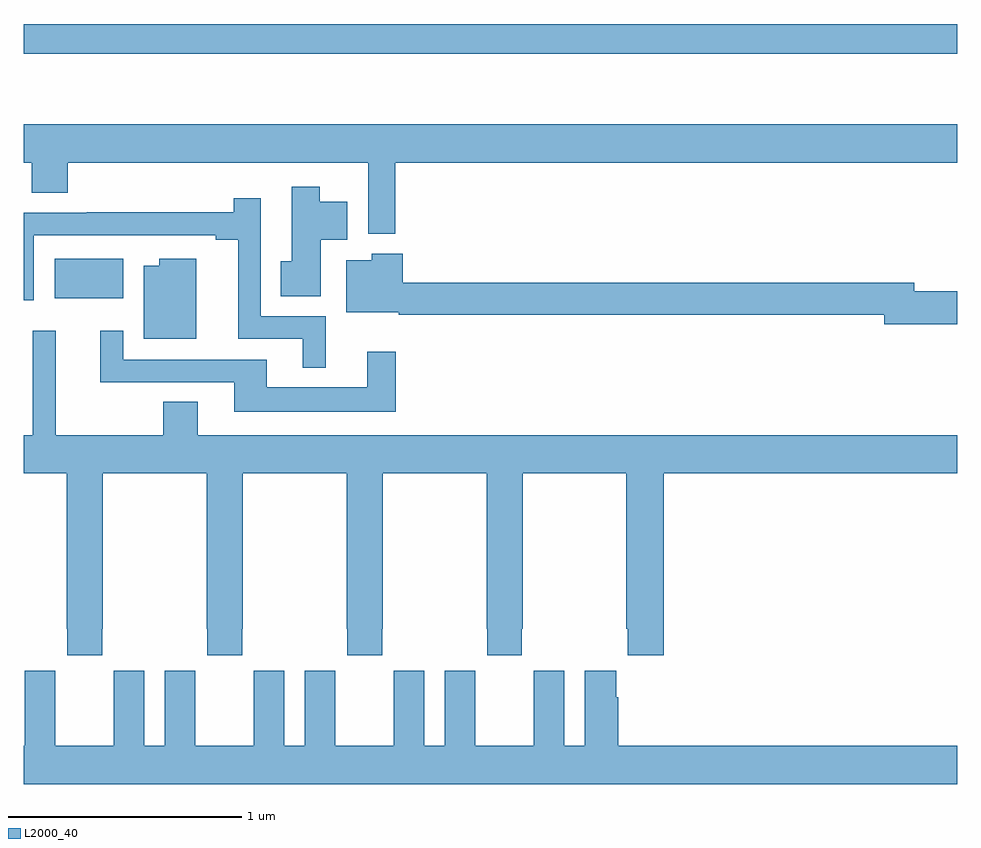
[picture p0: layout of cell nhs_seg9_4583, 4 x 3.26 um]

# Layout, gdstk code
import gdstk
lib = gdstk.Library(unit=1e-6, precision=1e-09)
def R(c, l, rs):  # rectangles x0, y0, x1, y1
    for r in rs: c.add(gdstk.rectangle(r[:2], r[2:], *l))
def P(c, l, *ps):  # polygons
    for p in ps: c.add(gdstk.Polygon(p, *l))
L2000_40 = (2000, 40)

nhs_seg9_4583 = lib.new_cell('nhs_seg9_4583')
R(nhs_seg9_4583, L2000_40, [(373.133,1245.122,373.426,1245.292), (373,1246.17,377,1246.298)])
P(nhs_seg9_4583, L2000_40, [(374.591,1245.704),(377,1245.704),(377,1245.868),(373,1245.868),(373,1245.704),(373.034,1245.704),(373.034,1245.574),(373.187,1245.574),(373.187,1245.704),(374.475,1245.704),(374.475,1245.398),(374.591,1245.398)],
  [(374.272,1245.374),(374.386,1245.374),(374.386,1245.535),(374.269,1245.535),(374.269,1245.601),(374.147,1245.601),(374.147,1245.282),(374.101,1245.282),(374.101,1245.13),(374.272,1245.13)],
  [(374.293,1245.045),(374.016,1245.045),(374.016,1245.55),(373.9,1245.55),(373.9,1245.491),(373.27,1245.491),(373.27,1245.489),(373,1245.489),(373,1245.114),(373.041,1245.114),(373.041,1245.393),(373.823,1245.393),(373.823,1245.373),(373.919,1245.373),(373.919,1244.949),(374.195,1244.949),(374.195,1244.825),(374.293,1244.825)],
  [(377,1245.152),(376.816,1245.152),(376.816,1245.188),(374.624,1245.188),(374.624,1245.313),(374.49,1245.313),(374.49,1245.286),(374.381,1245.286),(374.381,1245.062),(374.607,1245.062),(374.607,1245.052),(376.688,1245.052),(376.688,1245.01),(377,1245.01)],
  [(373.738,1245.292),(373.58,1245.292),(373.58,1245.262),(373.514,1245.262),(373.514,1244.948),(373.738,1244.948)],
  [(374.593,1244.893),(374.471,1244.893),(374.471,1244.74),(374.041,1244.74),(374.041,1244.859),(373.425,1244.859),(373.425,1244.983),(373.328,1244.983),(373.328,1244.763),(373.901,1244.763),(373.901,1244.636),(374.593,1244.636)],
  [(373.744,1244.678),(373.597,1244.678),(373.597,1244.536),(373.136,1244.536),(373.136,1244.983),(373.037,1244.983),(373.037,1244.536),(373,1244.536),(373,1244.372),(373.183,1244.372),(373.183,1243.705),(373.185,1243.705),(373.185,1243.593),(373.335,1243.593),(373.335,1243.705),(373.338,1243.705),(373.338,1244.372),(373.783,1244.372),(373.783,1243.705),(373.785,1243.705),(373.785,1243.593),(373.935,1243.593),(373.935,1243.705),(373.938,1243.705),(373.938,1244.372),(374.383,1244.372),(374.383,1243.705),(374.385,1243.705),(374.385,1243.593),(374.535,1243.593),(374.535,1243.705),(374.538,1243.705),(374.538,1244.372),(374.983,1244.372),(374.983,1243.705),(374.985,1243.705),(374.985,1243.593),(375.135,1243.593),(375.135,1243.705),(375.138,1243.705),(375.138,1244.372),(375.583,1244.372),(375.583,1243.705),(375.589,1243.705),(375.589,1243.593),(375.743,1243.593),(375.743,1244.372),(377,1244.372),(377,1244.536),(373.744,1244.536)],
  [(377,1243.204),(375.548,1243.204),(375.548,1243.412),(375.538,1243.412),(375.538,1243.525),(375.404,1243.525),(375.404,1243.204),(375.316,1243.204),(375.316,1243.525),(375.186,1243.525),(375.186,1243.412),(375.185,1243.412),(375.185,1243.204),(374.935,1243.204),(374.935,1243.412),(374.934,1243.412),(374.934,1243.525),(374.804,1243.525),(374.804,1243.204),(374.716,1243.204),(374.716,1243.525),(374.586,1243.525),(374.586,1243.412),(374.585,1243.412),(374.585,1243.204),(374.335,1243.204),(374.335,1243.412),(374.334,1243.412),(374.334,1243.525),(374.204,1243.525),(374.204,1243.204),(374.116,1243.204),(374.116,1243.525),(373.986,1243.525),(373.986,1243.412),(373.985,1243.412),(373.985,1243.204),(373.735,1243.204),(373.735,1243.412),(373.734,1243.412),(373.734,1243.525),(373.604,1243.525),(373.604,1243.204),(373.516,1243.204),(373.516,1243.525),(373.386,1243.525),(373.386,1243.412),(373.385,1243.412),(373.385,1243.204),(373.135,1243.204),(373.135,1243.412),(373.134,1243.412),(373.134,1243.525),(373.004,1243.525),(373.004,1243.204),(373,1243.204),(373,1243.04),(377,1243.04)])

lib.write_gds('nhs_seg9_4583.gds')
